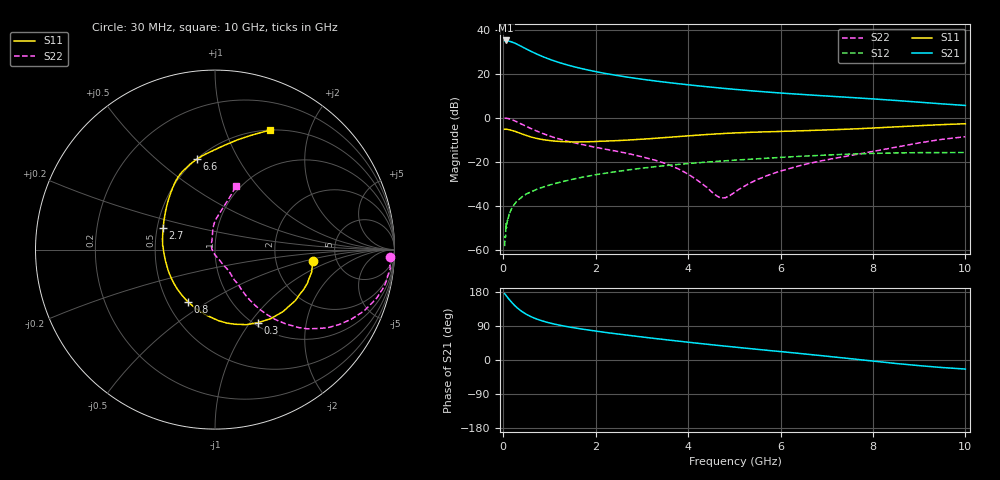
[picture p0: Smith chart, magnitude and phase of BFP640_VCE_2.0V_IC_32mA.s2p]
! Infineon Technologies  Discrete & RF Semiconductors
! BFP640
! VCE =  2.0 V,  IC =  32 mA
! Common Emitter S-Parameters:  Apr 2013
# GHz  S  MA  R  50
!  f  S11  S21  S12  S22
! GHz  MAG  ANG  MAG  ANG  MAG  ANG  MAG  ANG
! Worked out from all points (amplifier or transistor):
!   99 points, 30 MHz to 10 GHz, reference 50 ohm
!   highest |S21| = 35.2 dB at 60 MHz (marker M1)
!   |S21| within 3 dB of that: start of sweep to 420.3 MHz
!   unconditionally stable (mu >= 1): 2.126 GHz to end of sweep
!   at 350 MHz: K = 0.39, MSG = 35.0 dB, |S12| = -37.0 dB
!   at 3.5 GHz: K = 1.05, MAG = 17.6 dB, |S12| = -21.8 dB
!   at 10 GHz: K = 1.07, MAG = 9.1 dB, |S12| = -15.8 dB
!   S11 on the Smith chart (normalised r, x): 30 MHz: 3.32, -0.60; 300 MHz: 1.04, -1.09; 800 MHz: 0.63, -0.41; 2.7 GHz: 0.54, +0.14; 6.6 GHz: 0.50, +0.69; 10 GHz: 0.50, +1.45
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0.03  0.5489 -6.6  57.01 175.2  0.0012 86.0  0.975 -2.3
0.06  0.553 -13.2  57.72 170.4  0.0039 88.6  0.9825 -6.3
0.12  0.536 -26.7  55.81 161.1  0.0058 84.4  0.9551 -13.9
0.2  0.5124 -42.5  52.57 149.9  0.0095 74.1  0.8969 -22.5
0.25  0.4941 -51.2  50.15 143.6  0.011 74.8  0.8524 -27.1
0.3  0.4722 -59.7  47.37 137.9  0.0132 71.8  0.806 -31.3
0.4  0.432 -74.4  41.95 128.3  0.0157 67.5  0.7162 -37.9
0.5  0.397 -87.0  36.97 120.7  0.0185 64.9  0.6386 -42.9
0.6  0.3671 -98.4  32.73 114.4  0.0206 64.3  0.5695 -46.5
0.7  0.3447 -108.4  29.15 109.3  0.023 63.3  0.5127 -49.3
0.8  0.3277 -117.6  26.18 104.9  0.0252 62.0  0.4643 -51.3
1  0.3044 -133.4  21.6 97.9  0.0295 61.2  0.3878 -54.1
1.2  0.2912 -146.3  18.31 92.4  0.0336 60.5  0.3331 -55.6
1.7  0.2833 -171.0  13.2 81.7  0.0444 58.2  0.2476 -56.3
2.2  0.2953 171.6  10.29 73.0  0.0547 55.0  0.1947 -57.5
2.7  0.3124 157.7  8.414 65.3  0.0653 51.5  0.1539 -57.0
3.4  0.3498 141.9  6.686 55.2  0.0796 45.7  0.0994 -61.0
5.1  0.4573 116.0  4.365 32.9  0.1103 30.7  0.0236 145.0
6.6  0.5132 101.3  3.337 14.9  0.1358 17.5  0.0906 99.0
6.7  0.5182 100.2  3.286 13.7  0.1375 16.6  0.0957 98.0
8.5  0.6238 78.5  2.483 -9.2  0.1591 -1.8  0.2152 81.5
10  0.7342 65.1  1.915 -23.9  0.1627 -13.7  0.3723 72.0
